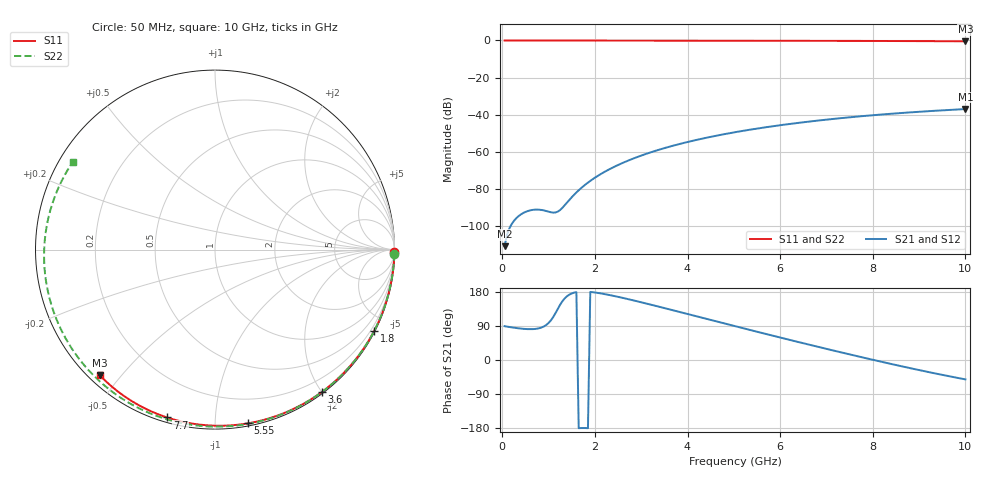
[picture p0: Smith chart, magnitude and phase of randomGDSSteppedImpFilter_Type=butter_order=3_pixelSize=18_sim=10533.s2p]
! freq	dB(S11)	phase(S11)	dB(S12)	phase(S12)
!  dB(S21)	phase(S21)	dB(S22)	phase(S22)
!S-par simulation data
#  GHz  S  DB  R 50
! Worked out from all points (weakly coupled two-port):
!   200 points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, 50 MHz to 10 GHz, reference 50 ohm
!   highest |S21| = -37.00 dB at 10 GHz (marker M1); lowest = -111.0 dB at 50 MHz (marker M2)
!   lowest |S11| = -0.4 dB at 10 GHz (marker M3), VSWR 38.81, Z = 1.54 - j22 ohm
!   |S11| at or under -10 dB: nowhere
!   |S22| runs from -0.6 to 0.0 dB; largest |S21 - S12| = 0
!   S11 on the Smith chart (normalised r, x): 50 MHz: open; 1.8 GHz: 0.04, -4.14; 3.6 GHz: 0.02, -2.00; 5.55 GHz: 0.02, -1.21; 7.7 GHz: 0.02, -0.75; 10 GHz: 0.03, -0.44
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0.05  -0.00 -0.8  -110.97 89.2  -110.97 89.2  -0.00 -1.3
0.4  -0.01 -6.1  -93.86 82.9  -93.86 82.9  -0.01 -10.1
0.8  -0.02 -12.2  -91.30 83.9  -91.30 83.9  -0.03 -20.1
1.2  -0.02 -18.2  -92.32 135.3  -92.32 135.3  -0.04 -30.1
1.65  -0.03 -25.0  -80.81 -180.0  -80.81 -180.0  -0.05 -41.0
1.7  -0.03 -25.7  -79.69 -179.5  -79.69 -179.5  -0.05 -42.2
1.75  -0.03 -26.4  -78.63 -179.4  -78.63 -179.4  -0.05 -43.4
1.8  -0.03 -27.2  -77.62 -179.5  -77.62 -179.5  -0.06 -44.6
2.1  -0.04 -31.6  -72.46 176.3  -72.46 176.3  -0.07 -51.7
2.45  -0.05 -36.7  -67.77 168.0  -67.77 168.0  -0.08 -59.9
2.9  -0.06 -43.2  -63.02 155.3  -63.02 155.3  -0.09 -70.1
3.4  -0.07 -50.3  -58.82 140.1  -58.82 140.1  -0.10 -81.1
3.6  -0.07 -53.1  -57.37 133.9  -57.37 133.9  -0.11 -85.4
4.3  -0.09 -62.8  -53.05 112.0  -53.05 112.0  -0.14 -100.0
5.05  -0.11 -72.8  -49.39 88.5  -49.39 88.5  -0.17 -115.1
5.55  -0.13 -79.3  -47.35 73.1  -47.35 73.1  -0.20 -124.8
6.15  -0.15 -87.0  -45.23 54.7  -45.23 54.7  -0.23 -136.2
6.7  -0.18 -93.8  -43.54 38.2  -43.54 38.2  -0.27 -146.6
7.7  -0.24 -105.9  -40.99 9.1  -40.99 9.1  -0.35 -165.3
8.35  -0.29 -113.6  -39.63 -9.2  -39.63 -9.2  -0.42 -177.8
9.2  -0.36 -123.4  -38.15 -31.7  -38.15 -31.7  -0.52 165.4
10  -0.45 -132.5  -37.00 -51.1  -37.00 -51.1  -0.62 148.4
